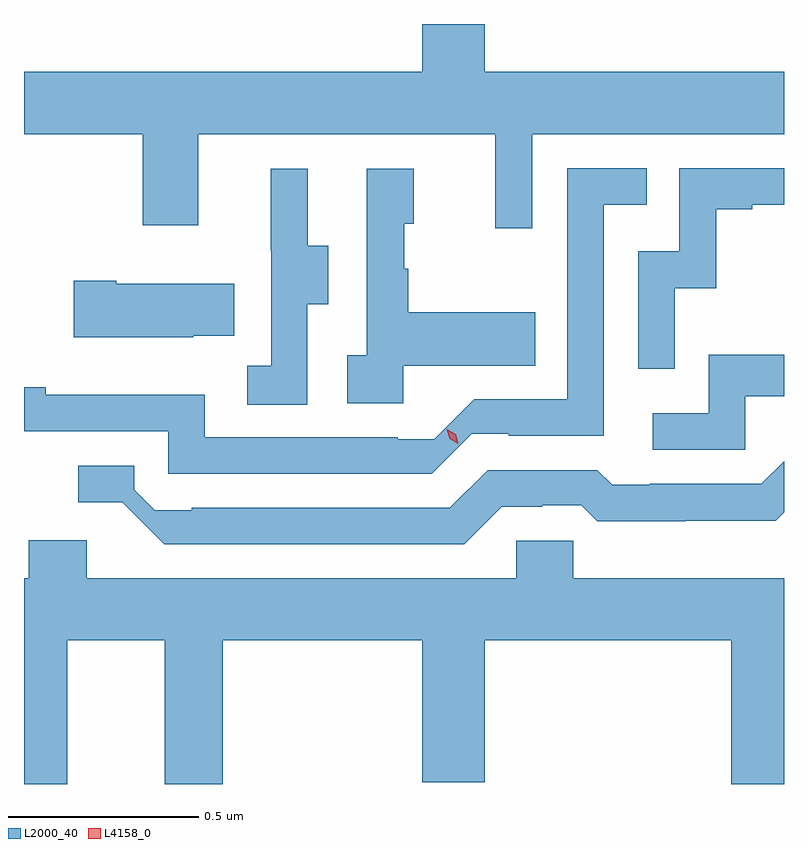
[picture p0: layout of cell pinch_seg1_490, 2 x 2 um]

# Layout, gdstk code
import gdstk
lib = gdstk.Library(unit=1e-6, precision=1e-09)
def P(c, l, *ps):  # polygons
    for p in ps: c.add(gdstk.Polygon(p, *l))
L2000_40 = (2000, 40)
L4158_0 = (4158, 0)

pinch_seg1_490 = lib.new_cell('pinch_seg1_490')
P(pinch_seg1_490, L2000_40, [(1088.373,526.424),(1089.036,526.424),(1089.036,526.588),(1088.248,526.588),(1088.248,526.714),(1088.084,526.714),(1088.084,526.588),(1087.036,526.588),(1087.036,526.424),(1087.348,526.424),(1087.348,526.185),(1087.495,526.185),(1087.495,526.424),(1088.276,526.424),(1088.276,526.176),(1088.373,526.176)],
  [(1088.214,525.636),(1088.311,525.636),(1088.311,525.63),(1088.562,525.63),(1088.562,526.239),(1088.675,526.239),(1088.675,526.335),(1088.466,526.335),(1088.466,525.726),(1088.221,525.726),(1088.116,525.621),(1088.019,525.621),(1088.019,525.627),(1087.512,525.627),(1087.512,525.739),(1087.093,525.739),(1087.093,525.758),(1087.036,525.758),(1087.036,525.642),(1087.416,525.642),(1087.416,525.531),(1088.109,525.531)],
  [(1088.748,526.019),(1088.858,526.019),(1088.858,526.227),(1088.953,526.227),(1088.953,526.239),(1089.036,526.239),(1089.036,526.335),(1088.76,526.335),(1088.76,526.116),(1088.652,526.116),(1088.652,525.807),(1088.748,525.807)],
  [(1087.782,525.976),(1087.837,525.976),(1087.837,526.131),(1087.783,526.131),(1087.783,526.333),(1087.685,526.333),(1087.685,526.119),(1087.686,526.119),(1087.686,525.815),(1087.623,525.815),(1087.623,525.712),(1087.782,525.712)],
  [(1088.034,525.815),(1088.381,525.815),(1088.381,525.955),(1088.047,525.955),(1088.047,526.07),(1088.037,526.07),(1088.037,526.188),(1088.062,526.188),(1088.062,526.333),(1087.938,526.333),(1087.938,525.842),(1087.887,525.842),(1087.887,525.716),(1088.034,525.716)],
  [(1087.481,525.893),(1087.589,525.893),(1087.589,526.03),(1087.279,526.03),(1087.279,526.038),(1087.167,526.038),(1087.167,525.89),(1087.481,525.89)],
  [(1088.934,525.735),(1089.036,525.735),(1089.036,525.844),(1088.838,525.844),(1088.838,525.69),(1088.691,525.69),(1088.691,525.594),(1088.934,525.594)],
  [(1088.293,525.444),(1088.4,525.444),(1088.4,525.447),(1088.503,525.447),(1088.545,525.405),(1088.778,525.405),(1088.778,525.407),(1089.014,525.407),(1089.036,525.429),(1089.036,525.564),(1088.976,525.504),(1088.683,525.504),(1088.683,525.501),(1088.584,525.501),(1088.545,525.54),(1088.256,525.54),(1088.157,525.441),(1087.477,525.441),(1087.477,525.435),(1087.38,525.435),(1087.326,525.489),(1087.326,525.552),(1087.179,525.552),(1087.179,525.456),(1087.294,525.456),(1087.405,525.345),(1088.194,525.345)],
  [(1087.15,525.092),(1087.406,525.092),(1087.406,524.714),(1087.559,524.714),(1087.559,525.092),(1088.084,525.092),(1088.084,524.718),(1088.248,524.718),(1088.248,525.092),(1088.897,525.092),(1088.897,524.714),(1089.036,524.714),(1089.036,525.256),(1088.481,525.256),(1088.481,525.354),(1088.331,525.354),(1088.331,525.256),(1087.201,525.256),(1087.201,525.355),(1087.049,525.355),(1087.049,525.256),(1087.036,525.256),(1087.036,524.714),(1087.15,524.714)])
P(pinch_seg1_490, L4158_0, [(1088.179,525.61),(1088.156,525.622),(1088.149,525.647),(1088.149,525.647),(1088.149,525.647),(1088.172,525.635),(1088.179,525.61),(1088.179,525.61)])

lib.write_gds('pinch_seg1_490.gds')
